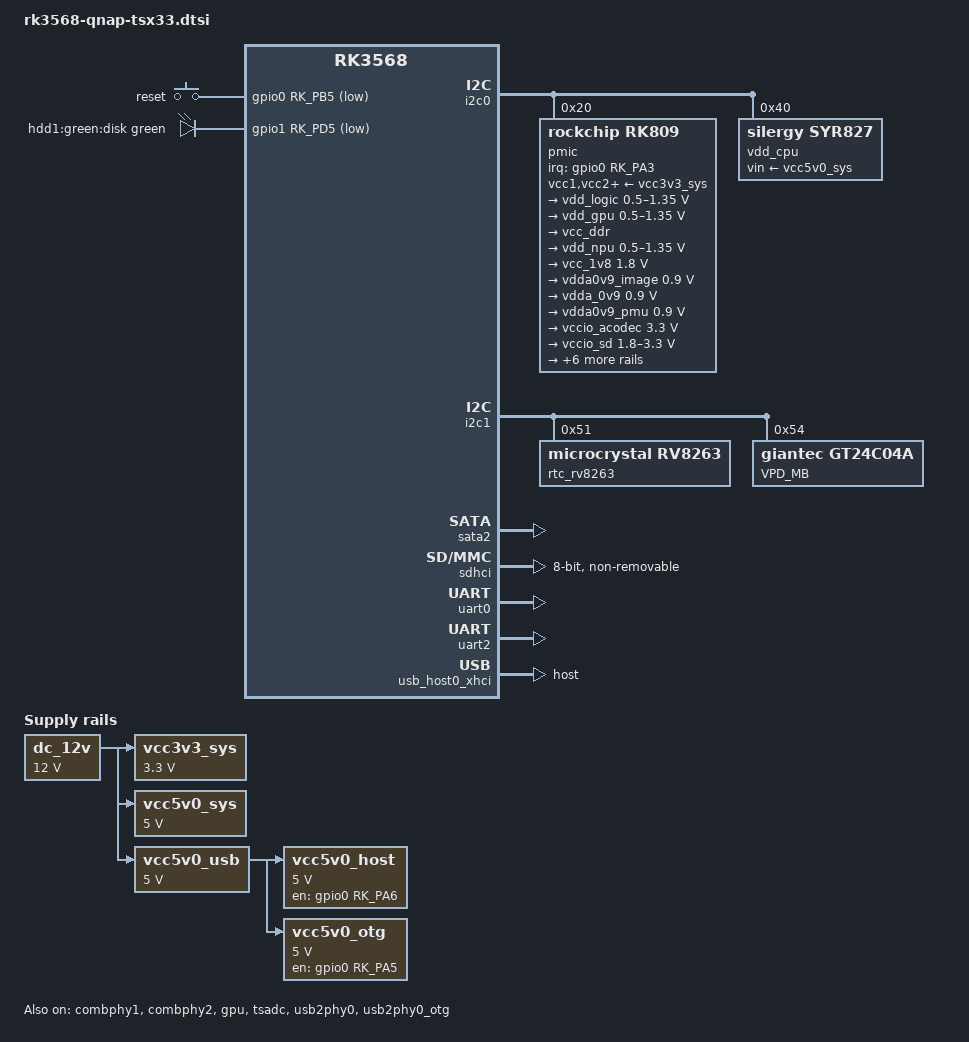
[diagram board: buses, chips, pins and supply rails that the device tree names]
#include <dt-bindings/input/input.h>
#include <dt-bindings/leds/common.h>
#include <dt-bindings/gpio/gpio.h>

/ {
	aliases {
		mmc0 = &sdhci;
		rtc0 = &rtc_rv8263;
	};

	chosen {
		stdout-path = "serial2:115200n8";
	};

	keys: keys {
		compatible = "gpio-keys";
		pinctrl-0 = <&reset_button_pin>;
		pinctrl-names = "default";

		key-reset {
			label = "reset";
			gpios = <&gpio0 RK_PB5 GPIO_ACTIVE_LOW>;
			linux,code = <KEY_RESTART>;
		};
	};

	leds: leds {
		compatible = "gpio-leds";

		led-0 {
			color = <LED_COLOR_ID_GREEN>;
			function = LED_FUNCTION_DISK;
			gpios = <&gpio1 RK_PD5 GPIO_ACTIVE_LOW>;
			label = "hdd1:green:disk";
			linux,default-trigger = "disk-activity";
			pinctrl-names = "default";
			pinctrl-0 = <&hdd1_led_pin>;
		};
	};

	dc_12v: regulator-dc-12v {
		compatible = "regulator-fixed";
		regulator-name = "dc_12v";
		regulator-always-on;
		regulator-boot-on;
		regulator-min-microvolt = <12000000>;
		regulator-max-microvolt = <12000000>;
	};

	vcc3v3_sys: regulator-vcc3v3-sys {
		compatible = "regulator-fixed";
		regulator-name = "vcc3v3_sys";
		regulator-always-on;
		regulator-boot-on;
		regulator-min-microvolt = <3300000>;
		regulator-max-microvolt = <3300000>;
		vin-supply = <&dc_12v>;
	};

	vcc5v0_host: regulator-vcc5v0-host {
		compatible = "regulator-fixed";
		enable-active-high;
		pinctrl-names = "default";
		pinctrl-0 = <&vcc5v0_host_en>;
		gpio = <&gpio0 RK_PA6 GPIO_ACTIVE_HIGH>;
		regulator-name = "vcc5v0_host";
		regulator-always-on;
		regulator-boot-on;
		regulator-min-microvolt = <5000000>;
		regulator-max-microvolt = <5000000>;
		vin-supply = <&vcc5v0_usb>;
	};

	vcc5v0_otg: regulator-vcc5v0-otg {
		compatible = "regulator-fixed";
		enable-active-high;
		gpio = <&gpio0 RK_PA5 GPIO_ACTIVE_HIGH>;
		pinctrl-names = "default";
		pinctrl-0 = <&vcc5v0_otg_en>;
		regulator-name = "vcc5v0_otg";
		regulator-always-on;
		regulator-boot-on;
		regulator-min-microvolt = <5000000>;
		regulator-max-microvolt = <5000000>;
		vin-supply = <&vcc5v0_usb>;
	};

	vcc5v0_sys: regulator-vcc5v0-sys {
		compatible = "regulator-fixed";
		regulator-name = "vcc5v0_sys";
		regulator-always-on;
		regulator-boot-on;
		regulator-min-microvolt = <5000000>;
		regulator-max-microvolt = <5000000>;
		vin-supply = <&dc_12v>;
	};

	vcc5v0_usb: regulator-vcc5v0-usb {
		compatible = "regulator-fixed";
		regulator-name = "vcc5v0_usb";
		regulator-always-on;
		regulator-boot-on;
		regulator-min-microvolt = <5000000>;
		regulator-max-microvolt = <5000000>;
		vin-supply = <&dc_12v>;
	};
};

/* Connected USB3 on TS133 / SATA1 on all the others */
&combphy1 {
	status = "okay";
};

/* Connected to SATA2 */
&combphy2 {
	status = "okay";
};

&cpu0 {
	cpu-supply = <&vdd_cpu>;
};

&cpu1 {
	cpu-supply = <&vdd_cpu>;
};

&cpu2 {
	cpu-supply = <&vdd_cpu>;
};

&cpu3 {
	cpu-supply = <&vdd_cpu>;
};

/*
 * The MCU can provide system temperature too, but only by polling and of
 * course also cannot set trip points. So attach to the cpu thermal-zone
 * instead to control the fan.
 */
&cpu_thermal {
	trips {
		case_fan0: case-fan0 {
			hysteresis = <2000>;
			temperature = <35000>;
			type = "active";
		};

		case_fan1: case-fan1 {
			hysteresis = <2000>;
			temperature = <45000>;
			type = "active";
		};

		case_fan2: case-fan2 {
			hysteresis = <2000>;
			temperature = <65000>;
			type = "active";
		};
	};

	cooling-maps {
		/*
		 * Always provide some air movement, due to small case
		 * full of harddrives.
		 */
		map1 {
			cooling-device = <&fan THERMAL_NO_LIMIT 1>;
			trip = <&case_fan0>;
		};

		map2 {
			cooling-device = <&fan 2 3>;
			trip = <&case_fan1>;
		};

		map3 {
			cooling-device = <&fan 4 THERMAL_NO_LIMIT>;
			trip = <&case_fan2>;
		};
	};
};

&gpu {
	mali-supply = <&vdd_gpu>;
	status = "okay";
};

&i2c0 {
	status = "okay";

	pmic@20 {
		compatible = "rockchip,rk809";
		reg = <0x20>;
		interrupt-parent = <&gpio0>;
		interrupts = <RK_PA3 IRQ_TYPE_LEVEL_LOW>;
		#clock-cells = <1>;
		pinctrl-names = "default";
		pinctrl-0 = <&pmic_int_l>;
		system-power-controller;
		vcc1-supply = <&vcc3v3_sys>;
		vcc2-supply = <&vcc3v3_sys>;
		vcc3-supply = <&vcc3v3_sys>;
		vcc4-supply = <&vcc3v3_sys>;
		vcc5-supply = <&vcc3v3_sys>;
		vcc6-supply = <&vcc3v3_sys>;
		vcc7-supply = <&vcc3v3_sys>;
		vcc8-supply = <&vcc3v3_sys>;
		vcc9-supply = <&vcc3v3_sys>;
		wakeup-source;

		regulators {
			vdd_logic: DCDC_REG1 {
				regulator-name = "vdd_logic";
				regulator-always-on;
				regulator-boot-on;
				regulator-initial-mode = <0x2>;
				regulator-min-microvolt = <500000>;
				regulator-max-microvolt = <1350000>;
				regulator-ramp-delay = <6001>;

				regulator-state-mem {
					regulator-off-in-suspend;
				};
			};

			vdd_gpu: DCDC_REG2 {
				regulator-name = "vdd_gpu";
				regulator-always-on;
				regulator-initial-mode = <0x2>;
				regulator-min-microvolt = <500000>;
				regulator-max-microvolt = <1350000>;
				regulator-ramp-delay = <6001>;

				regulator-state-mem {
					regulator-off-in-suspend;
				};
			};

			vcc_ddr: DCDC_REG3 {
				regulator-name = "vcc_ddr";
				regulator-always-on;
				regulator-boot-on;
				regulator-initial-mode = <0x2>;

				regulator-state-mem {
					regulator-on-in-suspend;
				};
			};

			vdd_npu: DCDC_REG4 {
				regulator-name = "vdd_npu";
				regulator-initial-mode = <0x2>;
				regulator-min-microvolt = <500000>;
				regulator-max-microvolt = <1350000>;
				regulator-ramp-delay = <6001>;

				regulator-state-mem {
					regulator-off-in-suspend;
				};
			};

			vcc_1v8: DCDC_REG5 {
				regulator-name = "vcc_1v8";
				regulator-always-on;
				regulator-boot-on;
				regulator-min-microvolt = <1800000>;
				regulator-max-microvolt = <1800000>;

				regulator-state-mem {
					regulator-off-in-suspend;
				};
			};

			vdda0v9_image: LDO_REG1 {
				regulator-name = "vdda0v9_image";
				regulator-always-on;
				regulator-min-microvolt = <900000>;
				regulator-max-microvolt = <900000>;

				regulator-state-mem {
					regulator-off-in-suspend;
				};
			};

			vdda_0v9: LDO_REG2 {
				regulator-name = "vdda_0v9";
				regulator-always-on;
				regulator-boot-on;
				regulator-min-microvolt = <900000>;
				regulator-max-microvolt = <900000>;

				regulator-state-mem {
					regulator-off-in-suspend;
				};
			};

			vdda0v9_pmu: LDO_REG3 {
				regulator-name = "vdda0v9_pmu";
				regulator-always-on;
				regulator-boot-on;
				regulator-min-microvolt = <900000>;
				regulator-max-microvolt = <900000>;

				regulator-state-mem {
					regulator-on-in-suspend;
					regulator-suspend-microvolt = <900000>;
				};
			};

			vccio_acodec: LDO_REG4 {
				regulator-name = "vccio_acodec";
				regulator-always-on;
				regulator-boot-on;
				regulator-min-microvolt = <3300000>;
				regulator-max-microvolt = <3300000>;

				regulator-state-mem {
					regulator-off-in-suspend;
				};
			};

			vccio_sd: LDO_REG5 {
				regulator-name = "vccio_sd";
				regulator-min-microvolt = <1800000>;
				regulator-max-microvolt = <3300000>;

				regulator-state-mem {
					regulator-off-in-suspend;
				};
			};

			vcc3v3_pmu: LDO_REG6 {
				regulator-name = "vcc3v3_pmu";
				regulator-always-on;
				regulator-boot-on;
				regulator-min-microvolt = <3300000>;
				regulator-max-microvolt = <3300000>;

				regulator-state-mem {
					regulator-on-in-suspend;
					regulator-suspend-microvolt = <3300000>;
				};
			};

			vcca_1v8: LDO_REG7 {
				regulator-name = "vcca_1v8";
				regulator-always-on;
				regulator-boot-on;
				regulator-min-microvolt = <1800000>;
				regulator-max-microvolt = <1800000>;

				regulator-state-mem {
					regulator-off-in-suspend;
				};
			};

			vcca1v8_pmu: LDO_REG8 {
				regulator-name = "vcca1v8_pmu";
				regulator-always-on;
				regulator-boot-on;
				regulator-min-microvolt = <1800000>;
				regulator-max-microvolt = <1800000>;

				regulator-state-mem {
					regulator-on-in-suspend;
					regulator-suspend-microvolt = <1800000>;
				};
			};

			vcca1v8_image: LDO_REG9 {
				regulator-name = "vcca1v8_image";
				regulator-always-on;
				regulator-min-microvolt = <1800000>;
				regulator-max-microvolt = <1800000>;

				regulator-state-mem {
					regulator-off-in-suspend;
				};
			};

			vcc_3v3: SWITCH_REG1 {
				regulator-name = "vcc_3v3";
				regulator-always-on;
				regulator-boot-on;

				regulator-state-mem {
					regulator-off-in-suspend;
				};
			};

			vcc3v3_sd: SWITCH_REG2 {
				regulator-name = "vcc3v3_sd";
				/*
				 * turning this off, breaks access to both
				 * PCIe controllers, refclk generator perhaps
				 */
				regulator-always-on;
				regulator-boot-on;

				regulator-state-mem {
					regulator-off-in-suspend;
				};
			};
		};
	};

	vdd_cpu: regulator@40 {
		compatible = "silergy,syr827";
		reg = <0x40>;
		fcs,suspend-voltage-selector = <1>;
		regulator-name = "vdd_cpu";
		regulator-always-on;
		regulator-boot-on;
		regulator-min-microvolt = <712500>;
		regulator-max-microvolt = <1390000>;
		regulator-ramp-delay = <2300>;
		vin-supply = <&vcc5v0_sys>;
	};
};

&i2c1 {
	status = "okay";

	rtc_rv8263: rtc@51 {
		compatible = "microcrystal,rv8263";
		reg = <0x51>;
		wakeup-source;
	};

	/* eeprom for vital-product-data on the mainboard */
	eeprom@54 {
		compatible = "giantec,gt24c04a", "atmel,24c04";
		reg = <0x54>;
		label = "VPD_MB";
		num-addresses = <2>;
		pagesize = <16>;
		read-only;
	};
};

&pinctrl {
	keys {
		copy_button_pin: copy-button-pin {
			rockchip,pins = <0 RK_PB6 RK_FUNC_GPIO &pcfg_pull_up>;
		};

		reset_button_pin: reset-button-pin {
			rockchip,pins = <0 RK_PB5 RK_FUNC_GPIO &pcfg_pull_up>;
		};
	};

	leds {
		hdd1_led_pin: hdd1-led-pin {
			rockchip,pins = <1 RK_PD5 RK_FUNC_GPIO &pcfg_pull_up>;
		};
	};

	pmic {
		pmic_int_l: pmic-int-l {
			rockchip,pins = <0 RK_PA3 RK_FUNC_GPIO &pcfg_pull_up>;
		};
	};

	usb {
		vcc5v0_host_en: vcc5v0-host-en {
			rockchip,pins = <0 RK_PA6 RK_FUNC_GPIO &pcfg_pull_none>;
		};

		vcc5v0_otg_en: vcc5v0-otg-en {
			rockchip,pins = <0 RK_PA5 RK_FUNC_GPIO &pcfg_pull_none>;
		};
	};
};

&pmu_io_domains {
	vccio4-supply = <&vcc_1v8>;
	vccio6-supply = <&vcc_1v8>;
	status = "okay";
};

&sata2 {
	status = "okay";
};

&sdhci {
	bus-width = <8>;
	max-frequency = <200000000>;
	non-removable;
	pinctrl-names = "default";
	pinctrl-0 = <&emmc_bus8 &emmc_clk &emmc_cmd &emmc_datastrobe>;
	status = "okay";
};

&tsadc {
	rockchip,hw-tshut-mode = <1>;
	rockchip,hw-tshut-polarity = <0>;
	status = "okay";
};

/*
 * Connected to an MCU, that provides access to more LEDs,
 * buzzer, fan control and more.
 */
&uart0 {
	status = "okay";

	mcu: mcu {
		fan: fan-0 {
			#cooling-cells = <2>;
			cooling-levels = <0 64 89 128 166 204 221 238>;
		};

		nvmem-layout {
			compatible = "fixed-layout";
			#address-cells = <1>;
			#size-cells = <1>;

			serial-number@0 {
				reg = <0x0 0x13>;
			};

			ext-port@22 {
				reg = <0x22 0x2>;
			};

			mac0: mac@24 {
				compatible = "mac-base";
				reg = <0x24 0x11>;
				#nvmem-cell-cells = <1>;
			};

			mac1: mac@35 {
				compatible = "mac-base";
				reg = <0x35 0x11>;
				#nvmem-cell-cells = <1>;
			};

			mac2: mac@46 {
				compatible = "mac-base";
				reg = <0x46 0x11>;
				#nvmem-cell-cells = <1>;
			};

			mac3: mac@57 {
				compatible = "mac-base";
				reg = <0x57 0x11>;
				#nvmem-cell-cells = <1>;
			};

			mac4: mac@68 {
				compatible = "mac-base";
				reg = <0x68 0x11>;
				#nvmem-cell-cells = <1>;
			};

			mac5: mac@79 {
				compatible = "mac-base";
				reg = <0x79 0x11>;
				#nvmem-cell-cells = <1>;
			};

			mac6: mac@8a {
				compatible = "mac-base";
				reg = <0x8a 0x11>;
				#nvmem-cell-cells = <1>;
			};

			mac7: mac@9b {
				compatible = "mac-base";
				reg = <0x9b 0x11>;
				#nvmem-cell-cells = <1>;
			};
		};
	};
};

/*
 * Pins available on CN3 connector at TTL voltage level (3V3).
 * ,_  _.
 * |1234|  1=TX 2=VCC
 * `----'  3=RX 4=GND
 */
&uart2 {
	status = "okay";
};

&usb2phy0 {
	status = "okay";
};

/* connected to usb_host0_xhci */
&usb2phy0_otg {
	phy-supply = <&vcc5v0_otg>;
	status = "okay";
};

/* front port */
&usb_host0_xhci {
	dr_mode = "host";
	status = "okay";
};
